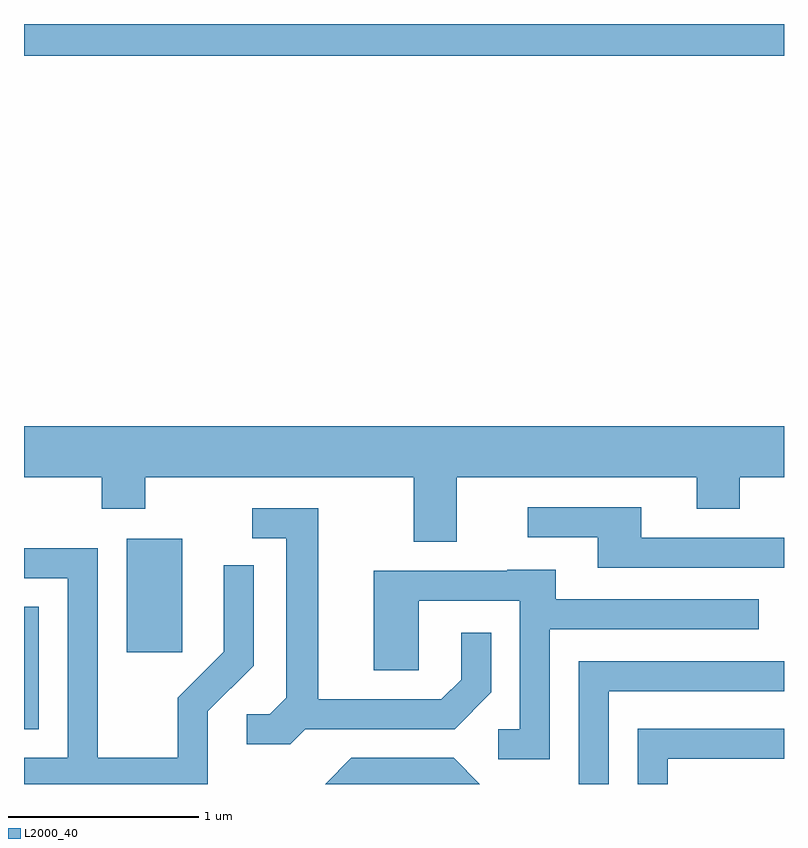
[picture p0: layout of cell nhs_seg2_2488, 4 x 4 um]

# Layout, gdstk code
import gdstk
lib = gdstk.Library(unit=1e-6, precision=1e-09)
def R(c, l, rs):  # rectangles x0, y0, x1, y1
    for r in rs: c.add(gdstk.rectangle(r[:2], r[2:], *l))
def P(c, l, *ps):  # polygons
    for p in ps: c.add(gdstk.Polygon(p, *l))
L2000_40 = (2000, 40)

nhs_seg2_2488 = lib.new_cell('nhs_seg2_2488')
R(nhs_seg2_2488, L2000_40, [(257.611,1058.091,257.689,1058.734), (258.151,1058.496,258.444,1059.094), (257.611,1061.636,261.611,1061.802)])
P(nhs_seg2_2488, L2000_40, [(259.889,1059.416),(261.151,1059.416),(261.151,1059.251),(261.379,1059.251),(261.379,1059.416),(261.611,1059.416),(261.611,1059.684),(257.611,1059.684),(257.611,1059.416),(258.021,1059.416),(258.021,1059.251),(258.249,1059.251),(258.249,1059.416),(259.661,1059.416),(259.661,1059.076),(259.889,1059.076)],
  [(261.611,1059.099),(260.859,1059.099),(260.859,1059.259),(260.263,1059.259),(260.263,1059.101),(260.631,1059.101),(260.631,1058.941),(261.611,1058.941)],
  [(259.092,1058.091),(259.877,1058.091),(260.069,1058.284),(260.069,1058.598),(259.911,1058.598),(259.911,1058.352),(259.808,1058.249),(259.159,1058.249),(259.159,1059.254),(258.813,1059.254),(258.813,1059.096),(258.991,1059.096),(258.991,1058.257),(258.904,1058.169),(258.783,1058.169),(258.783,1058.011),(259.012,1058.011)],
  [(258.579,1058.184),(258.819,1058.424),(258.819,1058.953),(258.661,1058.953),(258.661,1058.497),(258.421,1058.257),(258.421,1057.939),(257.999,1057.939),(257.999,1059.044),(257.611,1059.044),(257.611,1058.886),(257.841,1058.886),(257.841,1057.939),(257.611,1057.939),(257.611,1057.802),(258.579,1057.802)],
  [(260.379,1058.616),(261.478,1058.616),(261.478,1058.774),(260.409,1058.774),(260.409,1058.929),(260.155,1058.929),(260.155,1058.924),(259.451,1058.924),(259.451,1058.401),(259.689,1058.401),(259.689,1058.766),(260.221,1058.766),(260.221,1058.089),(260.108,1058.089),(260.108,1057.931),(260.379,1057.931)],
  [(260.689,1058.291),(261.611,1058.291),(261.611,1058.449),(260.531,1058.449),(260.531,1057.802),(260.689,1057.802)],
  [(260.999,1057.936),(261.611,1057.936),(261.611,1058.094),(260.841,1058.094),(260.841,1057.802),(260.999,1057.802)],
  [(259.872,1057.939),(259.334,1057.939),(259.196,1057.802),(260.009,1057.802)])

lib.write_gds('nhs_seg2_2488.gds')
